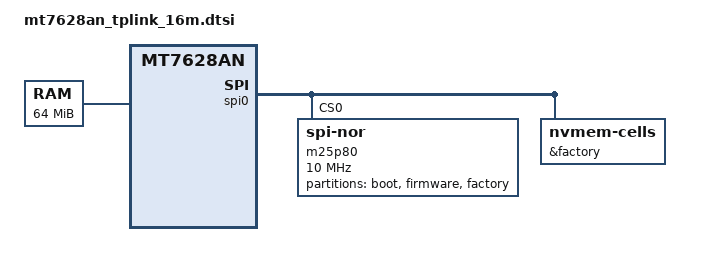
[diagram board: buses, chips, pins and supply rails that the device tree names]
#include "mt7628an.dtsi"

#include <dt-bindings/input/input.h>
#include <dt-bindings/gpio/gpio.h>

/ {
	chosen {
		bootargs = "console=ttyS0,115200";
	};

        memory@0 {
                device_type = "memory";
                reg = <0x0 0x4000000>;
        };

	aliases {
		label-mac-device = &ethernet;
	};
};

&spi0 {
	status = "okay";

	m25p80@0 {
		#address-cells = <1>;
                #size-cells = <1>;
                compatible = "jedec,spi-nor";
                reg = <0>;
                spi-max-frequency = <10000000>;
                m25p,chunked-io = <32>;

		partitions {
			compatible = "fixed-partitions";
			#address-cells = <1>;
			#size-cells = <1>;

			partition@0 {
                                label = "boot";
                                reg = <0x0 0x20000>;
                                read-only;
                        };

                        partition@20000 {
                                compatible = "tplink,firmware";
                                label = "firmware";
                                reg = <0x20000 0xfa0000>;
                        };

                        factory: partition@fc0000 {
                                label = "factory";
                                reg = <0xfc0000 0x30000>;
                                read-only;
                        };
	};
};

&ehci {
        status = "okay";
};

&ohci {
        status = "okay";
};

&wmac {
	status = "okay";

	mediatek,mtd-eeprom = <&factory 0x20000>;

	nvmem-cells = <&macaddr_factory_f100>;
	nvmem-cell-names = "mac-address";
};

&ethernet {
	nvmem-cells = <&macaddr_factory_f100>;
	nvmem-cell-names = "mac-address";
};

&factory {
	compatible = "nvmem-cells";
	#address-cells = <1>;
	#size-cells = <1>;

	macaddr_factory_f100: macaddr@f100 {
		reg = <0xf100 0x6>;
	};
};
